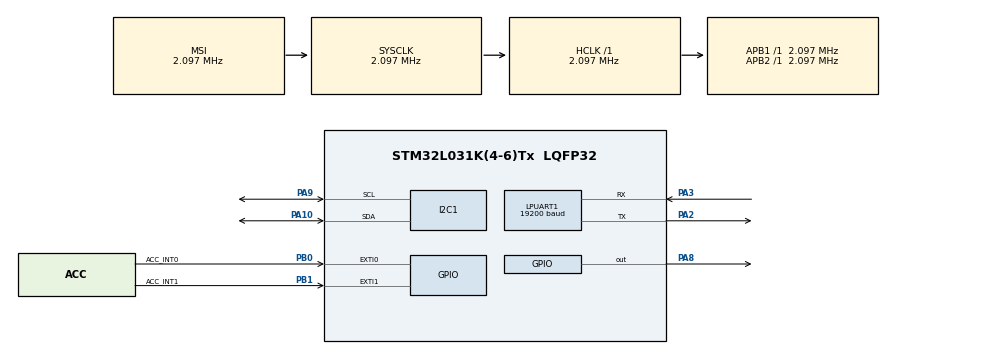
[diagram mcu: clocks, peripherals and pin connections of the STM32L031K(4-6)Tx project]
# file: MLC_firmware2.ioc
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LPUART1.BaudRate=19200
LPUART1.WordLength=UART_WORDLENGTH_8B
Mcu.Family=STM32L0
Mcu.Name=STM32L031K(4-6)Tx
Mcu.Package=LQFP32
NVIC.EXTI0_1_IRQn=true\:0\:0\:false\:false\:true\:true\:true\:true
NVIC.TIM21_IRQn=true\:0\:0\:false\:false\:true\:true\:true\:true
NVIC.TIM2_IRQn=true\:0\:0\:false\:false\:true\:true\:true\:true
PA10.GPIO_Pu=GPIO_PULLUP
PA10.Mode=I2C
PA10.Signal=I2C1_SDA
PA2.Mode=Asynchronous
PA2.Signal=LPUART1_TX
PA3.Mode=Asynchronous
PA3.Signal=LPUART1_RX
PA8.Signal=GPIO_Output
PA9.GPIO_Pu=GPIO_PULLUP
PA9.Mode=I2C
PA9.Signal=I2C1_SCL
PB0.GPIO_Label=ACC_INT0
PB0.GPIO_ModeDefaultEXTI=GPIO_MODE_IT_FALLING
PB0.Signal=GPXTI0
PB1.GPIO_Label=ACC_INT1
PB1.GPIO_ModeDefaultEXTI=GPIO_MODE_IT_FALLING
PB1.Signal=GPXTI1
ProjectManager.HeapSize=0x200
ProjectManager.StackSize=0x400
ProjectManager.TargetToolchain=STM32CubeIDE
RCC.AHBFreq_Value=2097000
RCC.APB1Freq_Value=2097000
RCC.APB1TimFreq_Value=2097000
RCC.APB2Freq_Value=2097000
RCC.APB2TimFreq_Value=2097000
RCC.HSE_VALUE=8000000
RCC.HSI16_VALUE=16000000
RCC.HSI_VALUE=16000000
RCC.LSE_VALUE=32768
RCC.MSI_VALUE=2097000
RCC.SYSCLKFreq_VALUE=2097000
RCC.VCOOutputFreq_Value=48000000
TIM2.CounterMode=TIM_COUNTERMODE_DOWN
TIM2.Prescaler=243
TIM21.CounterMode=TIM_COUNTERMODE_DOWN
TIM21.Period=1
TIM21.Prescaler=15999
VP_TIM21_VS_ClockSourceINT.Mode=Internal
VP_TIM2_VS_ClockSourceINT.Mode=Internal
board=custom

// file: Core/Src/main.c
/* USER CODE BEGIN Header */
/**
  ******************************************************************************
  * @file           : main.c
  * @brief          : Main program body
  ******************************************************************************
  * @attention
  *
  * Copyright (c) 2023 STMicroelectronics.
  * All rights reserved.
  *
  * This software is licensed under terms that can be found in the LICENSE file
  * in the root directory of this software component.
  * If no LICENSE file comes with this software, it is provided AS-IS.
  *
  ******************************************************************************
  */
/* USER CODE END Header */
#include "main.h"
#include "accelerometer.h"
#include <stdio.h>

I2C_HandleTypeDef hi2c1;

UART_HandleTypeDef hlpuart1;

TIM_HandleTypeDef htim2;
TIM_HandleTypeDef htim21;

void SystemClock_Config(void);
static void MX_GPIO_Init(void);
static void MX_I2C1_Init(void);
static void MX_TIM2_Init(void);
static void MX_TIM21_Init(void);
static void MX_LPUART1_UART_Init(void);

/* USER CODE BEGIN 0 */
static volatile struct accelerometer_t xl_r = {.slave_r_addr = ACC0_R_ADDR, .slave_w_addr = ACC0_W_ADDR, .irq_pin = GPIO_PIN_0};
//static volatile struct accelerometer_t xl_l = {.slave_r_addr = ACC1_R_ADDR, .slave_w_addr = ACC1_W_ADDR, .irq_pin = GPIO_PIN_1};
static volatile HAL_StatusTypeDef status;

int _write(int fd, char* ptr, int len) {
  HAL_UART_Transmit(&hlpuart1, (uint8_t *) ptr, len, HAL_MAX_DELAY);
  return len;
}

/* USER CODE END 0 */

int main(void)
{

  /* MCU Configuration--------------------------------------------------------*/

  /* Reset of all peripherals, Initializes the Flash interface and the Systick. */

	HAL_Init();
	SystemClock_Config();
	MX_GPIO_Init();
	MX_I2C1_Init();
	MX_LPUART1_UART_Init();

//	acc_init(&xl_l);
	acc_init(&xl_r);

	MX_TIM2_Init();
	MX_TIM21_Init();

	HAL_GPIO_WritePin(GPIOA, GPIO_PIN_8, GPIO_PIN_SET);

	// start polling the accelerometer(s)
	HAL_TIM_Base_Start_IT(&htim21);
	uint8_t status_mlc1 = 0;
	uint8_t temp;

	uint8_t old_status_mlc1 = 0;

	uint8_t mlc_out = {0};
	uint32_t mlc_status;

	/* check how MLC0-8_SRC knows which is which*/

	while (1) {
		old_status_mlc1 = status_mlc1;
		accelerometer_read(&xl_r, MLC_STATUS_MAINPAGE, status_mlc1);
		accelerometer_read(&xl_r, MLC0_SRC, temp);

		status_mlc1 = status_mlc1 & 0x01;
//		printf("status change: %d\r\n",status_mlc1);
//		printf("MLC0: %d\r\n",temp);

//		if(status_mlc1 != old_status_mlc1)
//			printf("status change: %b\r\n",status_mlc1);

		if (status_mlc1) {
			mlc_status = lsm6dsox_mlc_out_get(&xl_r, mlc_out); // gets mlc interrupt code
//			if (mlc_status == 0)
//				  printf("Detect MLC interrupt code: %02X\r\n", mlc_out);
			//      tx_com(tx_buffer, strlen((char const *)tx_buffer)); // CHANGE
		}

		if(xl_r.z_xlr < -0x100) {
			HAL_TIM_Base_Start_IT(&htim2);
			HAL_GPIO_WritePin(GPIOA, GPIO_PIN_8, GPIO_PIN_RESET);
//				printf("%d\r\n",xl_r.z_xlr);

		}
		printf("%d\r\n",xl_r.x_xlr);
		printf("%d\r\n",xl_r.y_xlr);
		printf("%d\r\n",xl_r.z_xlr);
	}
}

void SystemClock_Config(void)
{
  RCC_OscInitTypeDef RCC_OscInitStruct = {0};
  RCC_ClkInitTypeDef RCC_ClkInitStruct = {0};
  RCC_PeriphCLKInitTypeDef PeriphClkInit = {0};

  /** Configure the main internal regulator output voltage
  */
  __HAL_PWR_VOLTAGESCALING_CONFIG(PWR_REGULATOR_VOLTAGE_SCALE1);

  /** Initializes the RCC Oscillators according to the specified parameters
  * in the RCC_OscInitTypeDef structure.
  */
  RCC_OscInitStruct.OscillatorType = RCC_OSCILLATORTYPE_MSI;
  RCC_OscInitStruct.MSIState = RCC_MSI_ON;
  RCC_OscInitStruct.MSICalibrationValue = 0;
  RCC_OscInitStruct.MSIClockRange = RCC_MSIRANGE_5;
  RCC_OscInitStruct.PLL.PLLState = RCC_PLL_NONE;
  if (HAL_RCC_OscConfig(&RCC_OscInitStruct) != HAL_OK)
  {
    Error_Handler();
  }

  /** Initializes the CPU, AHB and APB buses clocks
  */
  RCC_ClkInitStruct.ClockType = RCC_CLOCKTYPE_HCLK|RCC_CLOCKTYPE_SYSCLK
                              |RCC_CLOCKTYPE_PCLK1|RCC_CLOCKTYPE_PCLK2;
  RCC_ClkInitStruct.SYSCLKSource = RCC_SYSCLKSOURCE_MSI;
  RCC_ClkInitStruct.AHBCLKDivider = RCC_SYSCLK_DIV1;
  RCC_ClkInitStruct.APB1CLKDivider = RCC_HCLK_DIV1;
  RCC_ClkInitStruct.APB2CLKDivider = RCC_HCLK_DIV1;

  if (HAL_RCC_ClockConfig(&RCC_ClkInitStruct, FLASH_LATENCY_0) != HAL_OK)
  {
    Error_Handler();
  }
  PeriphClkInit.PeriphClockSelection = RCC_PERIPHCLK_LPUART1|RCC_PERIPHCLK_I2C1;
  PeriphClkInit.Lpuart1ClockSelection = RCC_LPUART1CLKSOURCE_PCLK1;
  PeriphClkInit.I2c1ClockSelection = RCC_I2C1CLKSOURCE_PCLK1;
  if (HAL_RCCEx_PeriphCLKConfig(&PeriphClkInit) != HAL_OK)
  {
    Error_Handler();
  }
}

static void MX_I2C1_Init(void)
{

  hi2c1.Instance = I2C1;
  hi2c1.Init.Timing = 0x00000708;
  hi2c1.Init.OwnAddress1 = 0;
  hi2c1.Init.AddressingMode = I2C_ADDRESSINGMODE_7BIT;
  hi2c1.Init.DualAddressMode = I2C_DUALADDRESS_DISABLE;
  hi2c1.Init.OwnAddress2 = 0;
  hi2c1.Init.OwnAddress2Masks = I2C_OA2_NOMASK;
  hi2c1.Init.GeneralCallMode = I2C_GENERALCALL_DISABLE;
  hi2c1.Init.NoStretchMode = I2C_NOSTRETCH_DISABLE;
  if (HAL_I2C_Init(&hi2c1) != HAL_OK)
  {
    Error_Handler();
  }

  /** Configure Analogue filter
  */
  if (HAL_I2CEx_ConfigAnalogFilter(&hi2c1, I2C_ANALOGFILTER_ENABLE) != HAL_OK)
  {
    Error_Handler();
  }

  /** Configure Digital filter
  */
  if (HAL_I2CEx_ConfigDigitalFilter(&hi2c1, 0) != HAL_OK)
  {
    Error_Handler();
  }

}

static void MX_LPUART1_UART_Init(void)
{

  hlpuart1.Instance = LPUART1;
  hlpuart1.Init.BaudRate = 19200;
  hlpuart1.Init.WordLength = UART_WORDLENGTH_8B;
  hlpuart1.Init.StopBits = UART_STOPBITS_1;
  hlpuart1.Init.Parity = UART_PARITY_NONE;
  hlpuart1.Init.Mode = UART_MODE_TX_RX;
  hlpuart1.Init.HwFlowCtl = UART_HWCONTROL_NONE;
  hlpuart1.Init.OneBitSampling = UART_ONE_BIT_SAMPLE_DISABLE;
  hlpuart1.AdvancedInit.AdvFeatureInit = UART_ADVFEATURE_NO_INIT;
  if (HAL_UART_Init(&hlpuart1) != HAL_OK)
  {
    Error_Handler();
  }

}

static void MX_GPIO_Init(void)
{
  GPIO_InitTypeDef GPIO_InitStruct = {0};

  /* GPIO Ports Clock Enable */
  __HAL_RCC_GPIOA_CLK_ENABLE();
  __HAL_RCC_GPIOB_CLK_ENABLE();

  /*Configure GPIO pin Output Level */
  HAL_GPIO_WritePin(GPIOA, GPIO_PIN_8, GPIO_PIN_RESET);

  /*Configure GPIO pins : ACC_INT0_Pin ACC_INT1_Pin */
  GPIO_InitStruct.Pin = ACC_INT0_Pin|ACC_INT1_Pin;
  GPIO_InitStruct.Mode = GPIO_MODE_IT_FALLING;
  GPIO_InitStruct.Pull = GPIO_NOPULL;
  HAL_GPIO_Init(GPIOB, &GPIO_InitStruct);

  /*Configure GPIO pin : PA8 */
  GPIO_InitStruct.Pin = GPIO_PIN_8;
  GPIO_InitStruct.Mode = GPIO_MODE_OUTPUT_PP;
  GPIO_InitStruct.Pull = GPIO_NOPULL;
  GPIO_InitStruct.Speed = GPIO_SPEED_FREQ_LOW;
  HAL_GPIO_Init(GPIOA, &GPIO_InitStruct);

  /* EXTI interrupt init*/
  HAL_NVIC_SetPriority(EXTI0_1_IRQn, 0, 0);
  HAL_NVIC_EnableIRQ(EXTI0_1_IRQn);

}

/* USER CODE BEGIN 4 */
/**
  * @brief Interrupt Callback function
  * @param GPIO_Pin - the pin that triggered the interrupt
  * @retval None
  */
void HAL_GPIO_EXTI_Callback(uint16_t GPIO_Pin)
{

	if(xl_r.irq_pin == GPIO_Pin)
	{
		status = read_axis(&xl_r, ALL_AXIS);

	}
//	if(xl_l.irq_pin == GPIO_Pin)
//	{
//		status = read_axis(&xl_l, ALL_AXIS);
//	}

	return;
}

/**
  * @brief Timer Callback function
  * @param htim - the timer that triggered the callback
  * @retval None
  */
void HAL_TIM_PeriodElapsedCallback(TIM_HandleTypeDef *htim)
{

  uint8_t msg[25] = "test\n";

  // Check which version of the timer triggered this callback and toggle LED
  if (htim == &htim2)
  {
	  HAL_GPIO_WritePin(GPIOA, GPIO_PIN_8, GPIO_PIN_SET);
  }
  if (htim == &htim21)
  {
	  status = read_axis(&xl_r, ALL_AXIS);
//	  sprintf(msg, "%d,%d,%d", xl_r.x_xlr, xl_r.y_xlr, xl_r.z_xlr);
//	  HAL_UART_Transmit(&hlpuart1, msg, sizeof(msg), 10);
  }
}

/**
  * @brief TIM2 Initialization Function
  */
static void MX_TIM2_Init(void)
{

  TIM_ClockConfigTypeDef sClockSourceConfig = {0};
  TIM_MasterConfigTypeDef sMasterConfig = {0};

  htim2.Instance = TIM2;
  htim2.Init.Prescaler = 243;
  htim2.Init.CounterMode = TIM_COUNTERMODE_DOWN;
  htim2.Init.Period = 65535 / 2;
  htim2.Init.ClockDivision = TIM_CLOCKDIVISION_DIV1;
  htim2.Init.AutoReloadPreload = TIM_AUTORELOAD_PRELOAD_DISABLE;
  if (HAL_TIM_Base_Init(&htim2) != HAL_OK)
  {
    Error_Handler();
  }
  sClockSourceConfig.ClockSource = TIM_CLOCKSOURCE_INTERNAL;
  if (HAL_TIM_ConfigClockSource(&htim2, &sClockSourceConfig) != HAL_OK)
  {
    Error_Handler();
  }
  sMasterConfig.MasterOutputTrigger = TIM_TRGO_RESET;
  sMasterConfig.MasterSlaveMode = TIM_MASTERSLAVEMODE_DISABLE;
  if (HAL_TIMEx_MasterConfigSynchronization(&htim2, &sMasterConfig) != HAL_OK)
  {
    Error_Handler();
  }

}

/**
  * @brief TIM21 Initialization Function
  */
static void MX_TIM21_Init(void)
{

  TIM_ClockConfigTypeDef sClockSourceConfig = {0};
  TIM_MasterConfigTypeDef sMasterConfig = {0};

  htim21.Instance = TIM21;
  htim21.Init.Prescaler = 15999;
  htim21.Init.CounterMode = TIM_COUNTERMODE_DOWN;
  htim21.Init.Period = 1;
  htim21.Init.ClockDivision = TIM_CLOCKDIVISION_DIV1;
  htim21.Init.AutoReloadPreload = TIM_AUTORELOAD_PRELOAD_DISABLE;
  if (HAL_TIM_Base_Init(&htim21) != HAL_OK)
  {
    Error_Handler();
  }
  sClockSourceConfig.ClockSource = TIM_CLOCKSOURCE_INTERNAL;
  if (HAL_TIM_ConfigClockSource(&htim21, &sClockSourceConfig) != HAL_OK)
  {
    Error_Handler();
  }
  sMasterConfig.MasterOutputTrigger = TIM_TRGO_RESET;
  sMasterConfig.MasterSlaveMode = TIM_MASTERSLAVEMODE_DISABLE;
  if (HAL_TIMEx_MasterConfigSynchronization(&htim21, &sMasterConfig) != HAL_OK)
  {
    Error_Handler();
  }

}
/* USER CODE END 4 */

void Error_Handler(void)
{
  __disable_irq();
  while (1)
  {
  }
}
